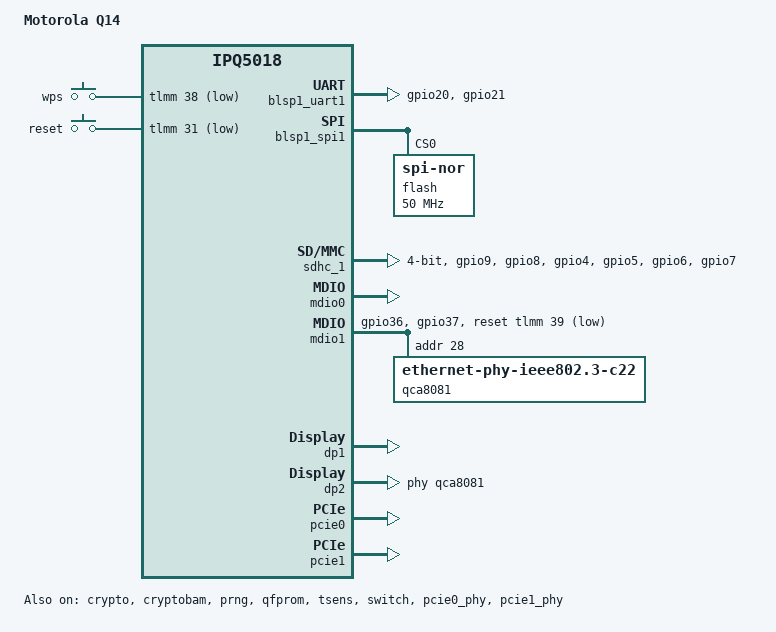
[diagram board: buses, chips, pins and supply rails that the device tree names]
// SPDX-License-Identifier: GPL-2.0-or-later OR MIT
/* Copyright (c) 2025, Robert Marko <robimarko@gmail.com> */

/dts-v1/;

#include "ipq5018.dtsi"
#include "ipq5018-ess.dtsi"

#include <dt-bindings/gpio/gpio.h>
#include <dt-bindings/input/input.h>
#include <dt-bindings/leds/common.h>

/ {
	model = "Motorola Q14";
	compatible = "motorola,q14", "qcom,ipq5018";

	aliases {
		serial0 = &blsp1_uart1;
		ethernet0 = &dp1;
		ethernet1 = &dp2;
	};

	keys {
		compatible = "gpio-keys";
		pinctrl-0 = <&button_pins>;
		pinctrl-names = "default";

		wps-button {
			label = "wps";
			gpios = <&tlmm 38 GPIO_ACTIVE_LOW>;
			linux,code = <KEY_WPS_BUTTON>;
		};

		reset-button {
			label = "reset";
			gpios = <&tlmm 31 GPIO_ACTIVE_LOW>;
			linux,code = <KEY_RESTART>;
		};
	};
};

&sleep_clk {
	clock-frequency = <32000>;
};

&xo_board_clk {
	clock-frequency = <24000000>;
};

&tlmm {
	serial0_pins: uart0-state {
		pins = "gpio20", "gpio21";
		function = "blsp0_uart0";
		bias-disable;
	};

	spi0_pins: spi0-state {
		pins = "gpio23", "gpio24", "gpio25", "gpio26";
		function = "blsp2_spi1";
		bias-disable;
	};

	button_pins: button-state {
		pins = "gpio31", "gpio38";
		function = "gpio";
		drive-strength = <8>;
		bias-pull-up;
	};

	mdio1_pins: mdio-state {
		mdc-pins {
			pins = "gpio36";
			function = "mdc";
			drive-strength = <8>;
			bias-pull-up;
		};

		mdio-pins {
			pins = "gpio37";
			function = "mdio";
			drive-strength = <8>;
			bias-pull-up;
		};
	};

	emmc_pins: emmc-state {
		sdc-clk-pins {
			pins = "gpio9";
			function = "sdc1_clk";
			drive-strength = <8>;
			bias-disable;
		};

		sdc-cmd-pins {
			pins = "gpio8";
			function = "sdc1_cmd";
			drive-strength = <8>;
			bias-pull-up;
		};

		sdc-data-pins {
			pins = "gpio4", "gpio5", "gpio6", "gpio7";
			function = "sdc1_data";
			drive-strength = <8>;
			bias-disable;
		};
	};
};

&blsp1_uart1 {
	status = "okay";

	pinctrl-0 = <&serial0_pins>;
	pinctrl-names = "default";
};

&blsp1_spi1 {
	status = "okay";

	flash@0 {
		#address-cells = <1>;
		#size-cells = <1>;
		reg = <0>;
		compatible = "jedec,spi-nor";
		spi-max-frequency = <50000000>;

		partitions {
			compatible = "qcom,smem-part";
		};
	};
};

&sdhc_1 {
	status = "okay";

	pinctrl-0 = <&emmc_pins>;
	pinctrl-names = "default";
	mmc-ddr-1_8v;
	mmc-hs200-1_8v;
	max-frequency = <192000000>;
	bus-width = <4>;
};

&crypto {
	status = "okay";
};

&cryptobam {
	status = "okay";
};

&prng {
	status = "okay";
};

&qfprom {
	status = "okay";
};

&tsens {
	status = "okay";
};

&mdio0 {
	status = "okay";
};

&mdio1 {
	status = "okay";

	pinctrl-0 = <&mdio1_pins>;
	pinctrl-names = "default";
	reset-gpios = <&tlmm 39 GPIO_ACTIVE_LOW>;

	qca8081: ethernet-phy@1c {
		compatible = "ethernet-phy-ieee802.3-c22";
		reg = <28>;

		leds {
			#address-cells = <1>;
			#size-cells = <0>;

			led@0 {
				reg = <0>;
				color = <LED_COLOR_ID_GREEN>;
				function = LED_FUNCTION_WAN;
				default-state = "keep";
			};
		};
	};
};

&switch {
	status = "okay";

	switch_mac_mode = <MAC_MODE_SGMII_CHANNEL0>;

	qcom,port_phyinfo {
		// MAC0 -> GE Phy
		port@1 {
			port_id = <1>;
			mdiobus = <&mdio0>;
			phy_address = <7>;
		};

		// MAC1 ---SGMII---> QCA8081
		port@2 {
			port_id = <2>;
			mdiobus = <&mdio1>;
			phy_address = <28>;
			port_mac_sel = "QGMAC_PORT";
		};
	};
};

&dp1 {
	status = "okay";
	label = "lan";
};

&dp2 {
	status = "okay";
	phy-handle = <&qca8081>;
	label = "wan";
};

&pcie0_phy {
	status = "okay";
};

&pcie0 {
	status = "okay";
	perst-gpios = <&tlmm 15 GPIO_ACTIVE_LOW>;
};

&pcie1_phy {
	status = "okay";
};

&pcie1 {
	status = "okay";
	perst-gpios = <&tlmm 18 GPIO_ACTIVE_LOW>;
};
